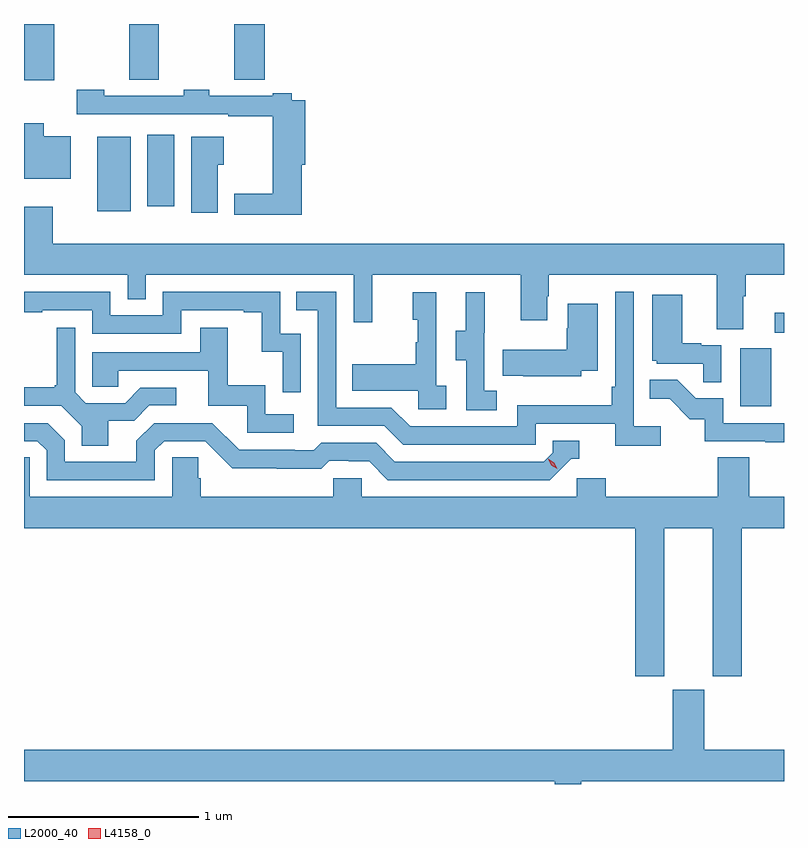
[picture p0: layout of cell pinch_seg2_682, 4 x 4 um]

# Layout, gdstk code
import gdstk
lib = gdstk.Library(unit=1e-6, precision=1e-09)
def R(c, l, rs):  # rectangles x0, y0, x1, y1
    for r in rs: c.add(gdstk.rectangle(r[:2], r[2:], *l))
def P(c, l, *ps):  # polygons
    for p in ps: c.add(gdstk.Polygon(p, *l))
L2000_40 = (2000, 40)
L4158_0 = (4158, 0)

pinch_seg2_682 = lib.new_cell('pinch_seg2_682')
R(pinch_seg2_682, L2000_40, [(1111.304,597.66,1111.468,597.967), (1111.485,598.047,1111.535,598.153), (1107.92,598.688,1108.096,599.08), (1108.184,598.713,1108.327,599.089), (1107.535,599.376,1107.693,599.673), (1108.09,599.38,1108.244,599.673), (1108.642,599.38,1108.802,599.673)])
P(pinch_seg2_682, L2000_40, [(1108.997,598.932),(1109.015,598.932),(1109.015,599.272),(1108.944,599.272),(1108.944,599.308),(1108.844,599.308),(1108.844,599.295),(1108.509,599.295),(1108.509,599.328),(1108.377,599.328),(1108.377,599.295),(1107.957,599.295),(1107.957,599.328),(1107.813,599.328),(1107.813,599.199),(1108.609,599.199),(1108.609,599.187),(1108.844,599.187),(1108.844,598.78),(1108.641,598.78),(1108.641,598.67),(1108.997,598.67)],
  [(1107.781,599.083),(1107.64,599.083),(1107.64,599.151),(1107.535,599.151),(1107.535,598.859),(1107.781,598.859)],
  [(1108.555,598.933),(1108.585,598.933),(1108.585,599.08),(1108.415,599.08),(1108.415,598.68),(1108.555,598.68)],
  [(1107.685,598.711),(1107.535,598.711),(1107.535,598.352),(1108.08,598.352),(1108.08,598.225),(1108.176,598.225),(1108.176,598.352),(1109.271,598.352),(1109.271,598.104),(1109.369,598.104),(1109.369,598.352),(1110.149,598.352),(1110.149,598.113),(1110.289,598.113),(1110.289,598.241),(1110.297,598.241),(1110.297,598.352),(1111.181,598.352),(1111.181,598.066),(1111.321,598.066),(1111.321,598.24),(1111.334,598.24),(1111.334,598.352),(1111.535,598.352),(1111.535,598.516),(1107.685,598.516)],
  [(1110.886,597.556),(1110.744,597.556),(1110.744,598.264),(1110.648,598.264),(1110.648,597.763),(1110.628,597.763),(1110.628,597.667),(1110.132,597.667),(1110.132,597.555),(1109.568,597.555),(1109.469,597.654),(1109.178,597.654),(1109.178,598.263),(1108.969,598.263),(1108.969,598.167),(1109.082,598.167),(1109.082,597.558),(1109.432,597.558),(1109.531,597.459),(1110.228,597.459),(1110.228,597.57),(1110.647,597.57),(1110.647,597.454),(1110.886,597.454)],
  [(1108.992,598.044),(1108.884,598.044),(1108.884,598.263),(1108.266,598.263),(1108.266,598.14),(1107.99,598.14),(1107.99,598.263),(1107.535,598.263),(1107.535,598.155),(1107.631,598.155),(1107.631,598.167),(1107.894,598.167),(1107.894,598.044),(1108.362,598.044),(1108.362,598.167),(1108.691,598.167),(1108.691,598.155),(1108.787,598.155),(1108.787,597.947),(1108.896,597.947),(1108.896,597.735),(1108.992,597.735)],
  [(1109.758,597.77),(1109.706,597.77),(1109.706,598.261),(1109.582,598.261),(1109.582,598.116),(1109.608,598.116),(1109.608,597.998),(1109.598,597.998),(1109.598,597.883),(1109.263,597.883),(1109.263,597.743),(1109.61,597.743),(1109.61,597.645),(1109.758,597.645)],
  [(1110.022,597.743),(1109.958,597.743),(1109.958,598.047),(1109.96,598.047),(1109.96,598.261),(1109.861,598.261),(1109.861,598.059),(1109.807,598.059),(1109.807,597.904),(1109.862,597.904),(1109.862,597.64),(1110.022,597.64)],
  [(1111.206,597.981),(1111.1,597.981),(1111.1,597.994),(1111,597.994),(1111,598.249),(1110.842,598.249),(1110.842,597.9),(1110.864,597.9),(1110.864,597.885),(1111.111,597.885),(1111.111,597.787),(1111.206,597.787)],
  [(1110.469,597.848),(1110.556,597.848),(1110.556,598.201),(1110.398,598.201),(1110.398,598.071),(1110.391,598.071),(1110.391,597.958),(1110.055,597.958),(1110.055,597.821),(1110.163,597.821),(1110.163,597.818),(1110.469,597.818)],
  [(1108.954,597.618),(1108.806,597.618),(1108.806,597.772),(1108.607,597.772),(1108.607,598.075),(1108.463,598.075),(1108.463,597.945),(1107.894,597.945),(1107.894,597.765),(1108.031,597.765),(1108.031,597.849),(1108.505,597.849),(1108.505,597.663),(1108.71,597.663),(1108.71,597.522),(1108.954,597.522)],
  [(1107.979,597.586),(1108.114,597.586),(1108.194,597.666),(1108.336,597.666),(1108.336,597.759),(1108.148,597.759),(1108.067,597.678),(1107.861,597.678),(1107.804,597.735),(1107.804,598.075),(1107.707,598.075),(1107.707,597.772),(1107.696,597.772),(1107.696,597.76),(1107.535,597.76),(1107.535,597.663),(1107.732,597.663),(1107.839,597.556),(1107.839,597.454),(1107.979,597.454)],
  [(1111.535,597.573),(1111.215,597.573),(1111.215,597.702),(1111.071,597.702),(1110.973,597.8),(1110.829,597.8),(1110.829,597.701),(1110.933,597.701),(1111.04,597.594),(1111.117,597.594),(1111.117,597.477),(1111.435,597.477),(1111.435,597.472),(1111.535,597.472)],
  [(1108.224,597.429),(1108.272,597.477),(1108.488,597.477),(1108.63,597.335),(1108.866,597.335),(1108.866,597.333),(1109.099,597.333),(1109.141,597.375),(1109.244,597.375),(1109.244,597.372),(1109.351,597.372),(1109.45,597.273),(1110.303,597.273),(1110.414,597.384),(1110.457,597.384),(1110.457,597.48),(1110.318,597.48),(1110.318,597.417),(1110.27,597.369),(1109.487,597.369),(1109.388,597.468),(1109.099,597.468),(1109.06,597.429),(1108.961,597.429),(1108.961,597.432),(1108.668,597.432),(1108.527,597.573),(1108.221,597.573),(1108.127,597.479),(1108.127,597.369),(1107.75,597.369),(1107.75,597.483),(1107.66,597.573),(1107.535,597.573),(1107.535,597.477),(1107.606,597.477),(1107.654,597.429),(1107.654,597.273),(1108.224,597.273)],
  [(1108.451,597.282),(1108.451,597.392),(1108.314,597.392),(1108.314,597.184),(1107.564,597.184),(1107.564,597.392),(1107.535,597.392),(1107.535,597.02),(1110.752,597.02),(1110.752,596.241),(1110.904,596.241),(1110.904,597.02),(1111.16,597.02),(1111.16,596.241),(1111.313,596.241),(1111.313,597.02),(1111.535,597.02),(1111.535,597.184),(1111.352,597.184),(1111.352,597.392),(1111.187,597.392),(1111.187,597.184),(1110.596,597.184),(1110.596,597.282),(1110.444,597.282),(1110.444,597.184),(1109.313,597.184),(1109.313,597.282),(1109.163,597.282),(1109.163,597.184),(1108.466,597.184),(1108.466,597.282)],
  [(1110.469,595.688),(1111.535,595.688),(1111.535,595.852),(1111.114,595.852),(1111.114,596.169),(1110.95,596.169),(1110.95,595.852),(1107.535,595.852),(1107.535,595.688),(1110.329,595.688),(1110.329,595.673),(1110.469,595.673)])
P(pinch_seg2_682, L4158_0, [(1110.341,597.331),(1110.311,597.351),(1110.295,597.384),(1110.295,597.384),(1110.295,597.384),(1110.326,597.364),(1110.341,597.331),(1110.341,597.331)])

lib.write_gds('pinch_seg2_682.gds')
